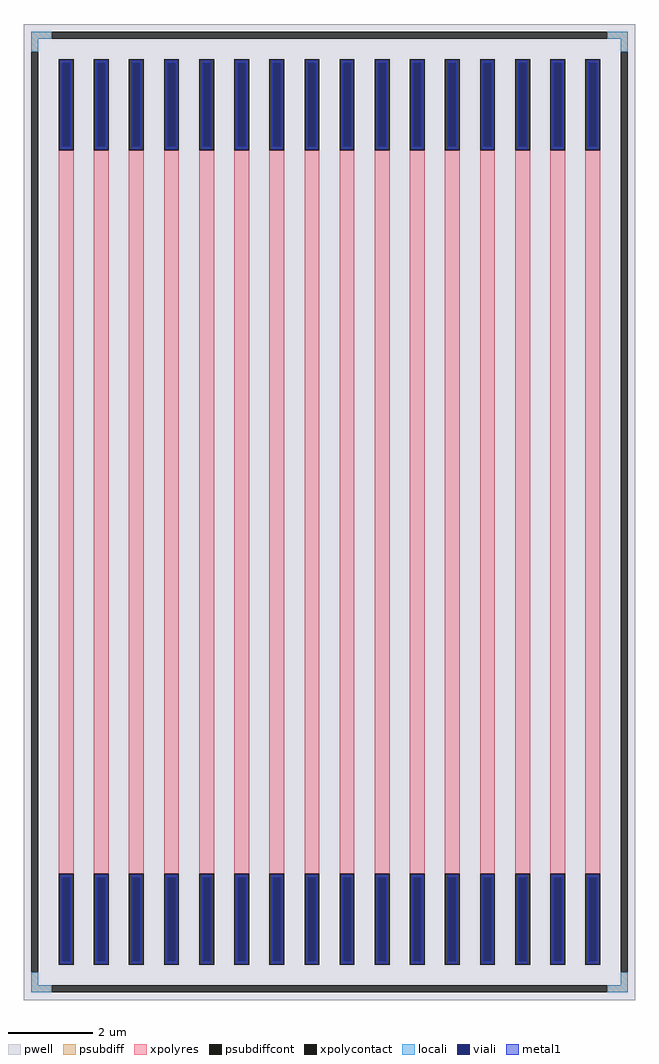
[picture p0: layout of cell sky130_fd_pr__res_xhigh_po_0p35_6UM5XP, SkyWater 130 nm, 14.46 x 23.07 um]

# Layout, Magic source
magic
tech sky130A
magscale 1 2
<< pwell >>
rect -1446 -2307 1446 2307
<< psubdiff >>
rect -1410 2237 -1314 2271
rect 1314 2237 1410 2271
rect -1410 2175 -1376 2237
rect 1376 2175 1410 2237
rect -1410 -2237 -1376 -2175
rect 1376 -2237 1410 -2175
rect -1410 -2271 -1314 -2237
rect 1314 -2271 1410 -2237
<< psubdiffcont >>
rect -1314 2237 1314 2271
rect -1410 -2175 -1376 2175
rect 1376 -2175 1410 2175
rect -1314 -2271 1314 -2237
<< xpolycontact >>
rect -1280 1709 -1210 2141
rect -1280 -2141 -1210 -1709
rect -1114 1709 -1044 2141
rect -1114 -2141 -1044 -1709
rect -948 1709 -878 2141
rect -948 -2141 -878 -1709
rect -782 1709 -712 2141
rect -782 -2141 -712 -1709
rect -616 1709 -546 2141
rect -616 -2141 -546 -1709
rect -450 1709 -380 2141
rect -450 -2141 -380 -1709
rect -284 1709 -214 2141
rect -284 -2141 -214 -1709
rect -118 1709 -48 2141
rect -118 -2141 -48 -1709
rect 48 1709 118 2141
rect 48 -2141 118 -1709
rect 214 1709 284 2141
rect 214 -2141 284 -1709
rect 380 1709 450 2141
rect 380 -2141 450 -1709
rect 546 1709 616 2141
rect 546 -2141 616 -1709
rect 712 1709 782 2141
rect 712 -2141 782 -1709
rect 878 1709 948 2141
rect 878 -2141 948 -1709
rect 1044 1709 1114 2141
rect 1044 -2141 1114 -1709
rect 1210 1709 1280 2141
rect 1210 -2141 1280 -1709
<< xpolyres >>
rect -1280 -1709 -1210 1709
rect -1114 -1709 -1044 1709
rect -948 -1709 -878 1709
rect -782 -1709 -712 1709
rect -616 -1709 -546 1709
rect -450 -1709 -380 1709
rect -284 -1709 -214 1709
rect -118 -1709 -48 1709
rect 48 -1709 118 1709
rect 214 -1709 284 1709
rect 380 -1709 450 1709
rect 546 -1709 616 1709
rect 712 -1709 782 1709
rect 878 -1709 948 1709
rect 1044 -1709 1114 1709
rect 1210 -1709 1280 1709
<< locali >>
rect -1410 2237 -1314 2271
rect 1314 2237 1410 2271
rect -1410 2175 -1376 2237
rect 1376 2175 1410 2237
rect -1410 -2237 -1376 -2175
rect 1376 -2237 1410 -2175
rect -1410 -2271 -1314 -2237
rect 1314 -2271 1410 -2237
<< viali >>
rect -1264 1726 -1226 2123
rect -1098 1726 -1060 2123
rect -932 1726 -894 2123
rect -766 1726 -728 2123
rect -600 1726 -562 2123
rect -434 1726 -396 2123
rect -268 1726 -230 2123
rect -102 1726 -64 2123
rect 64 1726 102 2123
rect 230 1726 268 2123
rect 396 1726 434 2123
rect 562 1726 600 2123
rect 728 1726 766 2123
rect 894 1726 932 2123
rect 1060 1726 1098 2123
rect 1226 1726 1264 2123
rect -1264 -2123 -1226 -1726
rect -1098 -2123 -1060 -1726
rect -932 -2123 -894 -1726
rect -766 -2123 -728 -1726
rect -600 -2123 -562 -1726
rect -434 -2123 -396 -1726
rect -268 -2123 -230 -1726
rect -102 -2123 -64 -1726
rect 64 -2123 102 -1726
rect 230 -2123 268 -1726
rect 396 -2123 434 -1726
rect 562 -2123 600 -1726
rect 728 -2123 766 -1726
rect 894 -2123 932 -1726
rect 1060 -2123 1098 -1726
rect 1226 -2123 1264 -1726
<< metal1 >>
rect -1270 2123 -1220 2135
rect -1270 1726 -1264 2123
rect -1226 1726 -1220 2123
rect -1270 1714 -1220 1726
rect -1104 2123 -1054 2135
rect -1104 1726 -1098 2123
rect -1060 1726 -1054 2123
rect -1104 1714 -1054 1726
rect -938 2123 -888 2135
rect -938 1726 -932 2123
rect -894 1726 -888 2123
rect -938 1714 -888 1726
rect -772 2123 -722 2135
rect -772 1726 -766 2123
rect -728 1726 -722 2123
rect -772 1714 -722 1726
rect -606 2123 -556 2135
rect -606 1726 -600 2123
rect -562 1726 -556 2123
rect -606 1714 -556 1726
rect -440 2123 -390 2135
rect -440 1726 -434 2123
rect -396 1726 -390 2123
rect -440 1714 -390 1726
rect -274 2123 -224 2135
rect -274 1726 -268 2123
rect -230 1726 -224 2123
rect -274 1714 -224 1726
rect -108 2123 -58 2135
rect -108 1726 -102 2123
rect -64 1726 -58 2123
rect -108 1714 -58 1726
rect 58 2123 108 2135
rect 58 1726 64 2123
rect 102 1726 108 2123
rect 58 1714 108 1726
rect 224 2123 274 2135
rect 224 1726 230 2123
rect 268 1726 274 2123
rect 224 1714 274 1726
rect 390 2123 440 2135
rect 390 1726 396 2123
rect 434 1726 440 2123
rect 390 1714 440 1726
rect 556 2123 606 2135
rect 556 1726 562 2123
rect 600 1726 606 2123
rect 556 1714 606 1726
rect 722 2123 772 2135
rect 722 1726 728 2123
rect 766 1726 772 2123
rect 722 1714 772 1726
rect 888 2123 938 2135
rect 888 1726 894 2123
rect 932 1726 938 2123
rect 888 1714 938 1726
rect 1054 2123 1104 2135
rect 1054 1726 1060 2123
rect 1098 1726 1104 2123
rect 1054 1714 1104 1726
rect 1220 2123 1270 2135
rect 1220 1726 1226 2123
rect 1264 1726 1270 2123
rect 1220 1714 1270 1726
rect -1270 -1726 -1220 -1714
rect -1270 -2123 -1264 -1726
rect -1226 -2123 -1220 -1726
rect -1270 -2135 -1220 -2123
rect -1104 -1726 -1054 -1714
rect -1104 -2123 -1098 -1726
rect -1060 -2123 -1054 -1726
rect -1104 -2135 -1054 -2123
rect -938 -1726 -888 -1714
rect -938 -2123 -932 -1726
rect -894 -2123 -888 -1726
rect -938 -2135 -888 -2123
rect -772 -1726 -722 -1714
rect -772 -2123 -766 -1726
rect -728 -2123 -722 -1726
rect -772 -2135 -722 -2123
rect -606 -1726 -556 -1714
rect -606 -2123 -600 -1726
rect -562 -2123 -556 -1726
rect -606 -2135 -556 -2123
rect -440 -1726 -390 -1714
rect -440 -2123 -434 -1726
rect -396 -2123 -390 -1726
rect -440 -2135 -390 -2123
rect -274 -1726 -224 -1714
rect -274 -2123 -268 -1726
rect -230 -2123 -224 -1726
rect -274 -2135 -224 -2123
rect -108 -1726 -58 -1714
rect -108 -2123 -102 -1726
rect -64 -2123 -58 -1726
rect -108 -2135 -58 -2123
rect 58 -1726 108 -1714
rect 58 -2123 64 -1726
rect 102 -2123 108 -1726
rect 58 -2135 108 -2123
rect 224 -1726 274 -1714
rect 224 -2123 230 -1726
rect 268 -2123 274 -1726
rect 224 -2135 274 -2123
rect 390 -1726 440 -1714
rect 390 -2123 396 -1726
rect 434 -2123 440 -1726
rect 390 -2135 440 -2123
rect 556 -1726 606 -1714
rect 556 -2123 562 -1726
rect 600 -2123 606 -1726
rect 556 -2135 606 -2123
rect 722 -1726 772 -1714
rect 722 -2123 728 -1726
rect 766 -2123 772 -1726
rect 722 -2135 772 -2123
rect 888 -1726 938 -1714
rect 888 -2123 894 -1726
rect 932 -2123 938 -1726
rect 888 -2135 938 -2123
rect 1054 -1726 1104 -1714
rect 1054 -2123 1060 -1726
rect 1098 -2123 1104 -1726
rect 1054 -2135 1104 -2123
rect 1220 -1726 1270 -1714
rect 1220 -2123 1226 -1726
rect 1264 -2123 1270 -1726
rect 1220 -2135 1270 -2123
<< properties >>
string FIXED_BBOX -1393 -2254 1393 2254
string gencell sky130_fd_pr__res_xhigh_po_0p35
string library sky130
string parameters w 0.350 l 17.25 m 1 nx 16 wmin 0.350 lmin 0.50 class resistor rho 2000 val 99.646k dummy 0 dw 0.0 term 188.2 sterm 0.0 caplen 0 wmax 0.350 guard 1 glc 1 grc 1 gtc 1 gbc 1 compatible {sky130_fd_pr__res_xhigh_po_0p35  sky130_fd_pr__res_xhigh_po_0p69 sky130_fd_pr__res_xhigh_po_1p41  sky130_fd_pr__res_xhigh_po_2p85 sky130_fd_pr__res_xhigh_po_5p73} snake 0 full_metal 1 n_guard 0 hv_guard 0 vias 1 viagb 0 viagt 0 viagl 0 viagr 0
<< end >>
